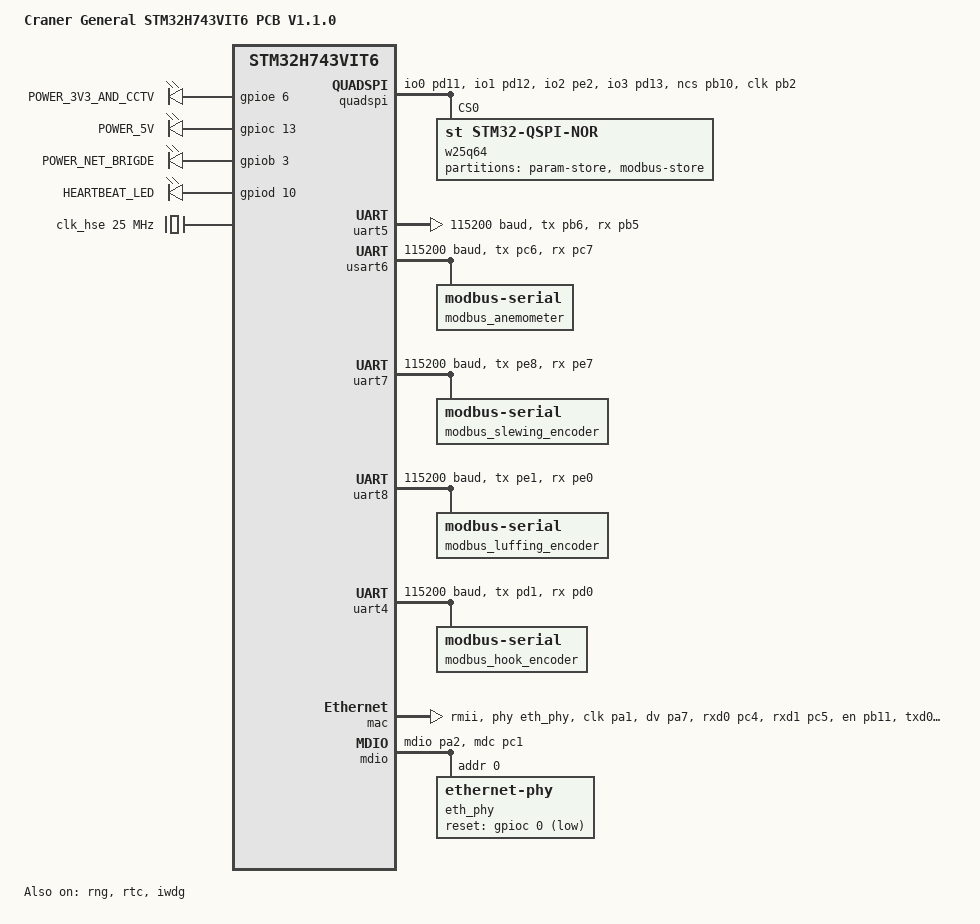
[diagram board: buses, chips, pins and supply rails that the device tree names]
/*
 * SPDX-License-Identifier: Apache-2.0
 */

/dts-v1/;
#include <st/h7/stm32h743Xi.dtsi>
#include <st/h7/stm32h743vitx-pinctrl.dtsi>
#include <zephyr/dt-bindings/gpio/gpio.h>

/ {
	model = "Craner General STM32H743VIT6 PCB V1.1.0";
	compatible = "craner,craner-general-stm32h743vit6";

	chosen {
		zephyr,sram = &sram0;
		zephyr,flash = &flash0;
		zephyr,code-partition = &slot0_partition;
		zephyr,settings-partition = &param_store_partition;
		zephyr,console = &uart5;
		zephyr,shell-uart = &uart5;
	};

	aliases {
		power-3v3-and-cctv = &power_3v3_and_cctv;
		power-5v = &power_5v;
		power-net-brigde = &power_net_brigde;
		modbus-slewing-encoder = &modbus_slewing_encoder;
		modbus-luffing-encoder = &modbus_luffing_encoder;
		modbus-hook-encoder = &modbus_hook_encoder;
		modbus-anemometer = &modbus_anemometer;
		heartbeat-led = &heartbeat_led;
		watchdog0 = &iwdg;
	};

	power_control {
		compatible = "gpio-leds";

		power_3v3_and_cctv: power_3v3_and_cctv {
			gpios = <&gpioe 6 GPIO_ACTIVE_HIGH>;
			label = "POWER_3V3_AND_CCTV";
		};

		power_5v: power_5v {
			gpios = <&gpioc 13 GPIO_ACTIVE_HIGH>;
			label = "POWER_5V";
		};

		power_net_brigde: power_net_brigde {
			gpios = <&gpiob 3 GPIO_ACTIVE_HIGH>;
			label = "POWER_NET_BRIGDE";
		};
	};

	leds {
		compatible = "gpio-leds";

		heartbeat_led: heartbeat_led {
			gpios = <&gpiod 10 GPIO_ACTIVE_HIGH>;
			label = "HEARTBEAT_LED";
		};
	};
};

&flash0 {
	partitions {
		compatible = "fixed-partitions";
		#address-cells = <1>;
		#size-cells = <1>;

		boot_partition: partition@0 {
			label = "mcuboot";
			reg = <0x00000000 0x00020000>;
		};

		slot0_partition: partition@20000 {
			label = "image-0";
			reg = <0x00020000 0x000c0000>;
		};

		slot1_partition: partition@e0000 {
			label = "image-1";
			reg = <0x000e0000 0x000c0000>;
		};

		scratch_partition: partition@1a0000 {
			label = "image-scratch";
			reg = <0x001a0000 0x00020000>;
		};

		coredump_partition: partition@1c0000 {
			label = "coredump-partition";
			reg = <0x001c0000 0x00020000>;
		};

		app_storage_partition: partition@1e0000 {
			label = "app-storage";
			reg = <0x001e0000 0x00020000>;
		};
	};
};

&quadspi {
	pinctrl-0 = <&quadspi_bk1_io0_pd11
		     &quadspi_bk1_io1_pd12
		     &quadspi_bk1_io2_pe2
		     &quadspi_bk1_io3_pd13
		     &quadspi_bk1_ncs_pb10
		     &quadspi_clk_pb2>;
	pinctrl-names = "default";
	status = "okay";

	w25q64: qspi-nor-flash@0 {
		compatible = "st,stm32-qspi-nor";
		reg = <0>;
		size = <DT_SIZE_M(64)>;
		qspi-max-frequency = <40000000>;
		spi-bus-width = <4>;
		writeoc = "PP_1_1_4";
		status = "okay";

		partitions {
			compatible = "fixed-partitions";
			#address-cells = <1>;
			#size-cells = <1>;

			storage_partition: param_store_partition: partition@0 {
				label = "param-store";
				reg = <0x00000000 0x00020000>;
			};

			modbus_store_partition: partition@20000 {
				label = "modbus-store";
				reg = <0x00020000 0x00020000>;
			};
		};
	};
};

&clk_hse {
	clock-frequency = <DT_FREQ_M(25)>;
	status = "okay";
};

&clk_hsi48 {
	status = "okay";
};

&clk_lse {
	status = "okay";
};

&pll {
	div-m = <5>;
	mul-n = <96>;
	div-p = <2>;
	div-q = <10>;
	div-r = <2>;
	clocks = <&clk_hse>;
	status = "okay";
};

&rcc {
	clocks = <&pll>;
	clock-frequency = <DT_FREQ_M(240)>;
	d1cpre = <1>;
	hpre = <2>;
	d1ppre = <1>;
	d2ppre1 = <1>;
	d2ppre2 = <1>;
	d3ppre = <1>;
};

&pwr {
	power-supply = "ldo";
};

&rng {
	status = "okay";
};

&rtc {
	clocks = <&rcc STM32_CLOCK(APB4, 16)>,
		 <&rcc STM32_SRC_LSE RTC_SEL(1)>;
	status = "okay";
};

&bbram {
	status = "okay";
};

&iwdg {
	status = "okay";
};

&uart5 {
	pinctrl-0 = <&uart5_tx_pb6 &uart5_rx_pb5>;
	pinctrl-names = "default";
	current-speed = <115200>;
	status = "okay";
};

&usart6 {
	pinctrl-0 = <&usart6_tx_pc6 &usart6_rx_pc7>;
	pinctrl-names = "default";
	current-speed = <115200>;
	status = "okay";

	modbus_anemometer: modbus-anemometer {
		compatible = "zephyr,modbus-serial";
		status = "okay";
	};
};

&uart7 {
	pinctrl-0 = <&uart7_tx_pe8 &uart7_rx_pe7>;
	pinctrl-names = "default";
	current-speed = <115200>;
	status = "okay";

	modbus_slewing_encoder: modbus-slewing-encoder {
		compatible = "zephyr,modbus-serial";
		status = "okay";
	};
};

&uart8 {
	pinctrl-0 = <&uart8_tx_pe1 &uart8_rx_pe0>;
	pinctrl-names = "default";
	current-speed = <115200>;
	status = "okay";

	modbus_luffing_encoder: modbus-luffing-encoder {
		compatible = "zephyr,modbus-serial";
		status = "okay";
	};
};

&uart4 {
	pinctrl-0 = <&uart4_tx_pd1 &uart4_rx_pd0>;
	pinctrl-names = "default";
	current-speed = <115200>;
	status = "okay";

	modbus_hook_encoder: modbus-hook-encoder {
		compatible = "zephyr,modbus-serial";
		status = "okay";
	};
};

&mac {
	pinctrl-0 = <&eth_ref_clk_pa1
		     &eth_crs_dv_pa7
		     &eth_rxd0_pc4
		     &eth_rxd1_pc5
		     &eth_tx_en_pb11
		     &eth_txd0_pb12
		     &eth_txd1_pb13>;
	pinctrl-names = "default";
	local-mac-address = [02 00 00 00 01 32];
	phy-connection-type = "rmii";
	phy-handle = <&eth_phy>;
	status = "okay";
};

&mdio {
	pinctrl-0 = <&eth_mdio_pa2 &eth_mdc_pc1>;
	pinctrl-names = "default";
	status = "okay";

	eth_phy: ethernet-phy@0 {
		compatible = "ethernet-phy";
		reg = <0x00>;
		reset-gpios = <&gpioc 0 GPIO_ACTIVE_LOW>;
		reset-assert-duration-us = <10000>;
		reset-deassertion-timeout-ms = <100>;
	};
};
